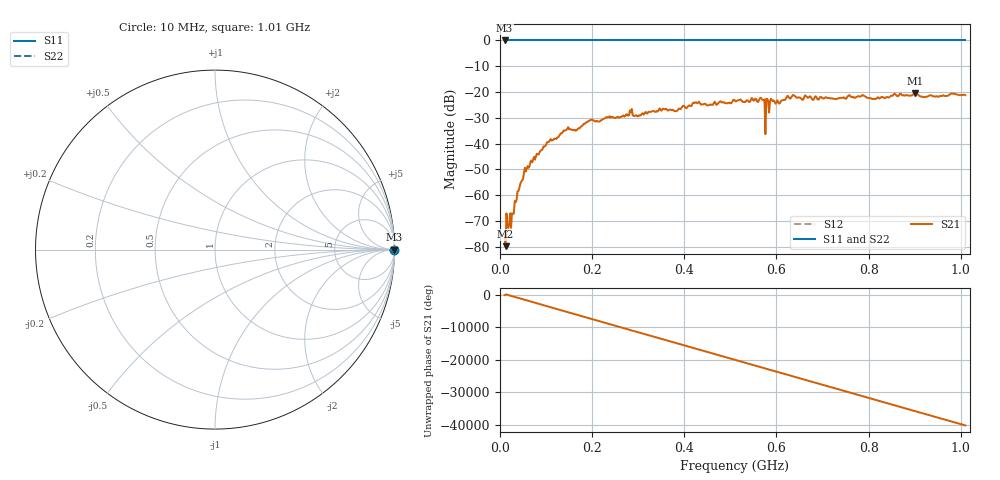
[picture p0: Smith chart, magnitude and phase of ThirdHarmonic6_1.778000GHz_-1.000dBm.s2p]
! 8/16/2025 9:29:34 PM
! C:\ANRITSUVNA\TEMP\TEMP.S2P
! CHANNEL.1
! TR.MEASUREMENT
! RAW.DATA
! RF.CORRECTION.OFF
! AVERAGING.OFF
! IF.BANDWIDTH: 5KHZ
! SWEEPTYPE:  FREQ.SWEEP(Linear)
! Reference Plane Port Info
! PORT:  PORT1  PORT2
! DISTANCE:  0  m  0  m
! TIME:  0  s  0  s
! PHASE.OFFSET:  0  deg.  0  deg.
! LOSS:  0  dB  0  dB
! REF.LOSS:  0  dB  0  dB
! REF.FREQ:  0  Hz  0  Hz
! Power Info
! POWER:  -20  dBm  -20  dBm
! EFF.POWER:  -20  dBm  -20  dBm
! SOURCE.ATTEN:  0  dB  0  dB
! TEST.ATTEN:  0  dB  0  dB
# GHZ S RI R 50.0
! FREQ.GHZ  S11RE  S11IM  S21RE  S21IM  S12RE  S12IM  S22RE  S22IM
!; PortSelection: Port_12
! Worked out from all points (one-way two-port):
!   501 points, 10 MHz to 1.01 GHz, reference 50 ohm
!   highest |S21| = -20.55 dB at 900 MHz (marker M1); lowest = -79.8 dB at 12 MHz (marker M2)
!   lowest |S11| = 0.0 dB at 10 MHz (marker M3)
!   |S11| at or under -10 dB: nowhere
!   |S22| runs from 0.0 to 0.0 dB; largest |S21 - S12| = 1.1
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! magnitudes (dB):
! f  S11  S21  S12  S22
! 10 MHz  0.0  -75.4  0.0  0.0
! 12 MHz  0.0  -79.8  0.0  0.0
! 18 MHz  0.0  -72.7  0.0  0.0
! 20 MHz  0.0  -71.4  0.0  0.0
! 28 MHz  0.0  -67.4  0.0  0.0
! 50 MHz  0.0  -53.6  0.0  0.0
! 70 MHz  0.0  -47.2  0.0  0.0
! 106 MHz  0.0  -39.4  0.0  0.0
! 144 MHz  0.0  -34.7  0.0  0.0
! 178 MHz  0.0  -33.1  0.0  0.0
! 196 MHz  0.0  -30.9  0.0  0.0
! 344 MHz  0.0  -27.2  0.0  0.0
! 510 MHz  0.0  -23.4  0.0  0.0
! 570 MHz  0.0  -23.1  0.0  0.0
! 572 MHz  0.0  -23.2  0.0  0.0
! 580 MHz  0.0  -22.7  0.0  0.0
! 582 MHz  0.0  -23.4  0.0  0.0
! 590 MHz  0.0  -23.1  0.0  0.0
! 678 MHz  0.0  -23.0  0.0  0.0
! 844 MHz  0.0  -22.1  0.0  0.0
! 900 MHz  0.0  -20.6  0.0  0.0
! 1.01 GHz  0.0  -21.2  0.0  0.0
